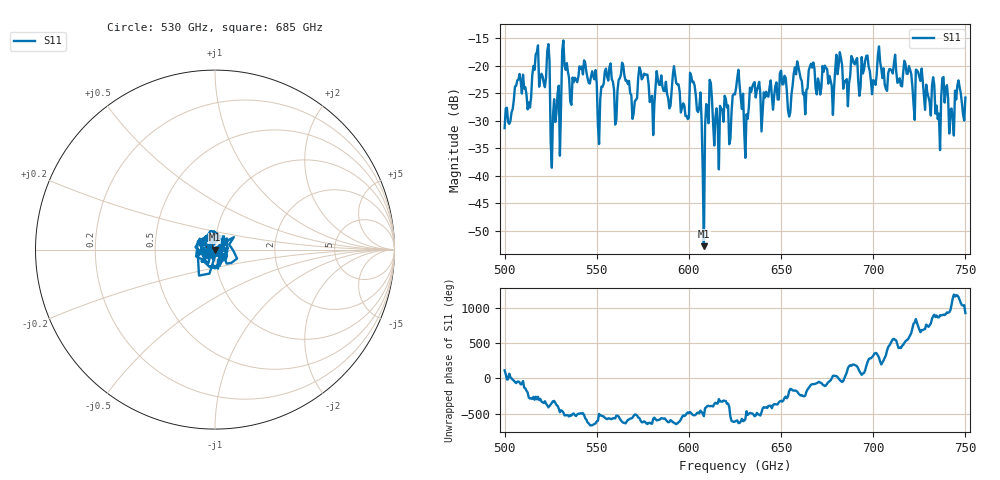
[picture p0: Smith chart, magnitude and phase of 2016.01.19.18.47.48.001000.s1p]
!Created with skrf (http://scikit-rf.org).
# GHz S RI R 50.0
!freq ReS11 ImS11
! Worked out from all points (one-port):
!   401 points, 500 GHz to 750 GHz, reference 50 ohm
!   lowest |S11| = -52.8 dB at 608.1 GHz (marker M1), VSWR 1.00, Z = 49.8 - j0.0185 ohm
!   |S11| at or under -10 dB: start of sweep to end of sweep
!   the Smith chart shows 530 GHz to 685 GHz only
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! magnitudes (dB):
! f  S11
! 500 GHz  -31.3
! 507.5 GHz  -22.5
! 513.1 GHz  -26.7
! 516.9 GHz  -17.9
! 523.1 GHz  -17.4
! 526.2 GHz  -29.1
! 531.2 GHz  -17.2
! 543.1 GHz  -19.0
! 551.9 GHz  -26.1
! 562.5 GHz  -22.3
! 570.6 GHz  -26.5
! 574.4 GHz  -22.5
! 593.8 GHz  -23.4
! 598.8 GHz  -29.1
! 601.9 GHz  -23.0
! 608.1 GHz  -52.8
! 610.6 GHz  -30.5
! 615 GHz  -27.8
! 625 GHz  -25.2
! 631.2 GHz  -28.8
! 634.4 GHz  -23.8
! 656.2 GHz  -23.6
! 687.5 GHz  -21.8
! 718.8 GHz  -21.4
! 735 GHz  -29.7
! 738.8 GHz  -26.7
! 742.5 GHz  -27.8
! 750 GHz  -25.8
